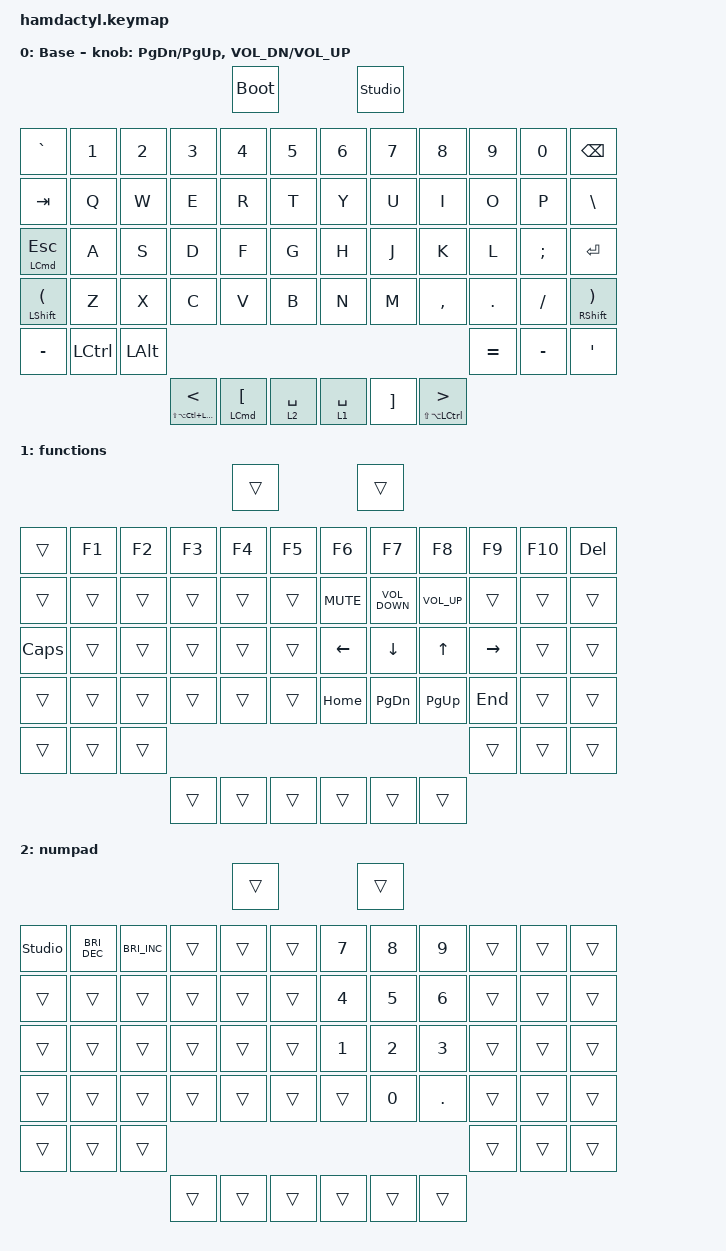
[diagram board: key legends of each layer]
#include <behaviors.dtsi>
#include <dt-bindings/zmk/keys.h>

/ {
    keymap {
        compatible = "zmk,keymap";

        default_layer {
            display-name = "Base";
            bindings = <
&kp GRAVE                        &kp NUMBER_1  &kp NUMBER_2  &kp NUMBER_3                    &kp NUMBER_4   &kp NUMBER_5  &kp NUMBER_6  &kp N7    &kp NUMBER_8                    &kp NUMBER_9   &kp NUMBER_0   &kp BACKSPACE
&kp TAB                          &kp Q         &kp W         &kp E                           &kp R          &kp T         &kp Y         &kp U     &kp I                           &kp O          &kp P          &kp BACKSLASH
&mt LEFT_COMMAND ESCAPE          &kp A         &kp S         &kp D                           &kp F          &kp G         &kp H         &kp J     &kp K                           &kp L          &kp SEMICOLON  &kp ENTER
&mt LEFT_SHIFT LEFT_PARENTHESIS  &kp Z         &kp X         &kp C                           &kp V          &kp B         &kp N         &kp M     &kp COMMA                       &kp PERIOD     &kp SLASH      &mt RIGHT_SHIFT RIGHT_PARENTHESIS
&kp MINUS                        &kp LCTRL     &kp LEFT_ALT                                                                                                                       &kp EQUAL      &kp MINUS      &kp SQT
                                                             &mt LS(LA(LC(LCMD))) LESS_THAN  &mt LCMD LBKT  &lt 2 SPACE   &lt 1 SPACE   &kp RBKT  &mt LS(LA(LCTRL)) GREATER_THAN  &bootloader    &studio_unlock
            >;

            sensor-bindings = <&inc_dec_kp PG_DN PG_UP &inc_dec_kp C_VOL_DN C_VOL_UP >;
        };

        functions {
            bindings = <
&trans    &kp F1  &kp F2  &kp F3  &kp F4  &kp F5  &kp F6      &kp F7             &kp F8           &kp F9     &kp F10  &kp DELETE
&trans    &trans  &trans  &trans  &trans  &trans  &kp C_MUTE  &kp C_VOLUME_DOWN  &kp C_VOLUME_UP  &trans     &trans   &trans
&kp CLCK  &trans  &trans  &trans  &trans  &trans  &kp LEFT    &kp DOWN           &kp UP_ARROW     &kp RIGHT  &trans   &trans
&trans    &trans  &trans  &trans  &trans  &trans  &kp HOME    &kp PAGE_DOWN      &kp PAGE_UP      &kp END    &trans   &trans
&trans    &trans  &trans                                                                          &trans     &trans   &trans
                          &trans  &trans  &trans  &trans      &trans             &trans           &trans     &trans
            >;
        };

        numpad {
            bindings = <
&studio_unlock  &kp C_BRIGHTNESS_DEC  &kp C_BRIGHTNESS_INC  &trans  &trans  &trans  &kp N7  &kp N8  &kp N9   &trans  &trans  &trans
&trans          &trans                &trans                &trans  &trans  &trans  &kp N4  &kp N5  &kp N6   &trans  &trans  &trans
&trans          &trans                &trans                &trans  &trans  &trans  &kp N1  &kp N2  &kp N3   &trans  &trans  &trans
&trans          &trans                &trans                &trans  &trans  &trans  &trans  &kp N0  &kp DOT  &trans  &trans  &trans
&trans          &trans                &trans                                                                 &trans  &trans  &trans
                                                            &trans  &trans  &trans  &trans  &trans  &trans   &trans  &trans
            >;
        };
    };
};
